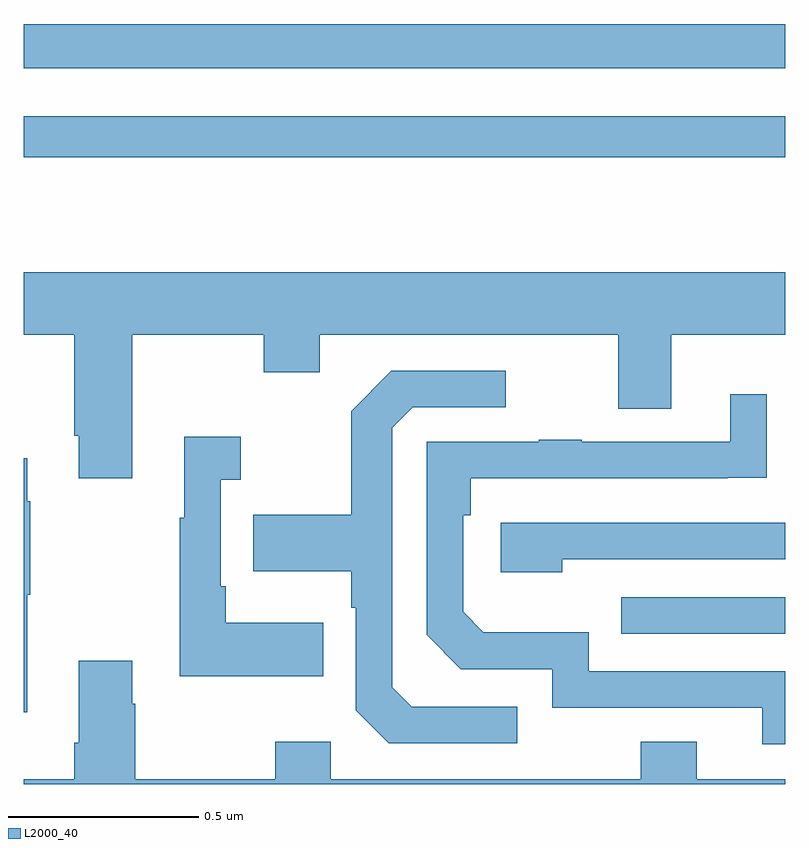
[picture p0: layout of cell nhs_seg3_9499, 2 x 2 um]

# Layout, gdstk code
import gdstk
lib = gdstk.Library(unit=1e-6, precision=1e-09)
def R(c, l, rs):  # rectangles x0, y0, x1, y1
    for r in rs: c.add(gdstk.rectangle(r[:2], r[2:], *l))
def P(c, l, *ps):  # polygons
    for p in ps: c.add(gdstk.Polygon(p, *l))
L2000_40 = (2000, 40)

nhs_seg3_9499 = lib.new_cell('nhs_seg3_9499')
R(nhs_seg3_9499, L2000_40, [(230.569,702.795,231,702.891), (229,704.046,231,704.154), (229,704.28,231,704.396)])
P(nhs_seg3_9499, L2000_40, [(229.285,703.58),(229.63,703.58),(229.63,703.481),(229.777,703.481),(229.777,703.58),(230.561,703.58),(230.561,703.386),(230.701,703.386),(230.701,703.58),(231,703.58),(231,703.744),(229,703.744),(229,703.58),(229.133,703.58),(229.133,703.315),(229.145,703.315),(229.145,703.203),(229.285,703.203)],
  [(230.296,702.603),(230.019,702.603),(229.968,702.654),(229.968,703.335),(230.022,703.389),(230.266,703.389),(230.266,703.485),(229.965,703.485),(229.86,703.379),(229.86,703.107),(229.603,703.107),(229.603,702.959),(229.86,702.959),(229.86,702.863),(229.872,702.863),(229.872,702.594),(229.959,702.507),(230.296,702.507)],
  [(231,702.696),(230.484,702.696),(230.484,702.799),(230.207,702.799),(230.154,702.852),(230.154,703.106),(230.174,703.106),(230.174,703.203),(230.849,703.203),(230.849,703.204),(230.951,703.204),(230.951,703.423),(230.855,703.423),(230.855,703.299),(230.465,703.299),(230.465,703.304),(230.353,703.304),(230.353,703.299),(230.058,703.299),(230.058,702.792),(230.148,702.702),(230.388,702.702),(230.388,702.6),(230.939,702.6),(230.939,702.504),(231,702.504)],
  [(229.787,702.823),(229.531,702.823),(229.531,702.919),(229.518,702.919),(229.518,703.199),(229.57,703.199),(229.57,703.312),(229.421,703.312),(229.421,703.099),(229.41,703.099),(229.41,702.683),(229.787,702.683)],
  [(229.009,702.897),(229.017,702.897),(229.017,703.142),(229.009,703.142),(229.009,703.255),(229,703.255),(229,702.588),(229.009,702.588)],
  [(230.414,702.99),(231,702.99),(231,703.086),(230.253,703.086),(230.253,702.956),(230.414,702.956)],
  [(231,702.412),(230.767,702.412),(230.767,702.511),(230.62,702.511),(230.62,702.412),(229.806,702.412),(229.806,702.511),(229.66,702.511),(229.66,702.412),(229.293,702.412),(229.293,702.611),(229.285,702.611),(229.285,702.724),(229.145,702.724),(229.145,702.508),(229.133,702.508),(229.133,702.412),(229,702.412),(229,702.4),(231,702.4)])

lib.write_gds('nhs_seg3_9499.gds')
